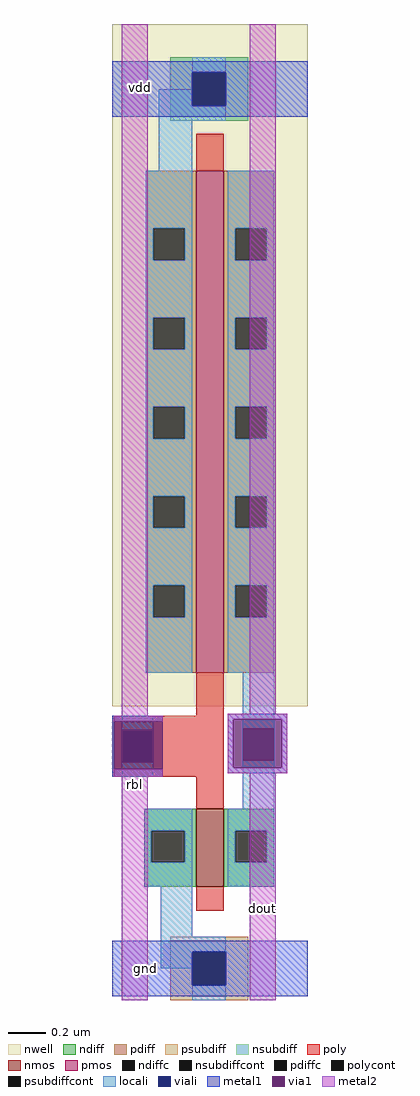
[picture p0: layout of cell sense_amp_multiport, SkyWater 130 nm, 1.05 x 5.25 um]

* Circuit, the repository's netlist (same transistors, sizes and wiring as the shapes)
* SPICE3 file created from sense_amplifier.ext - technology: sky130A



.subckt sense_amp_multiport rbl dout vdd gnd
X0 dout rbl vdd vdd sky130_fd_pr__pfet_01v8 ad=0 pd=0 as=0 ps=0 w=2.7 l=0.15
X1 dout rbl gnd gnd sky130_fd_pr__nfet_01v8 ad=0 pd=0 as=0 ps=0 w=0.42 l=0.15
.ends

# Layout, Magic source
magic
tech sky130A
<< nwell >>
rect 0 158 105 525
<< nmos >>
rect 45 61 60 103
<< pmos >>
rect 45 176 60 446
<< ndiff >>
rect 17 91 45 103
rect 17 74 21 91
rect 39 74 45 91
rect 17 61 45 74
rect 60 91 87 103
rect 60 74 66 91
rect 83 74 87 91
rect 60 61 87 74
<< pdiff >>
rect 18 415 45 446
rect 18 398 22 415
rect 39 398 45 415
rect 18 367 45 398
rect 18 350 22 367
rect 39 350 45 367
rect 18 319 45 350
rect 18 302 22 319
rect 39 302 45 319
rect 18 271 45 302
rect 18 254 22 271
rect 39 254 45 271
rect 18 223 45 254
rect 18 206 22 223
rect 39 206 45 223
rect 18 176 45 206
rect 60 415 87 446
rect 60 398 66 415
rect 83 398 87 415
rect 60 367 87 398
rect 60 350 66 367
rect 83 350 87 367
rect 60 319 87 350
rect 60 302 66 319
rect 83 302 87 319
rect 60 271 87 302
rect 60 254 66 271
rect 83 254 87 271
rect 60 223 87 254
rect 60 206 66 223
rect 83 206 87 223
rect 60 176 87 206
<< ndiffc >>
rect 21 74 39 91
rect 66 74 83 91
<< pdiffc >>
rect 22 398 39 415
rect 22 350 39 367
rect 22 302 39 319
rect 22 254 39 271
rect 22 206 39 223
rect 66 398 83 415
rect 66 350 83 367
rect 66 302 83 319
rect 66 254 83 271
rect 66 206 83 223
<< psubdiff >>
rect 31 26 73 34
rect 31 8 43 26
rect 61 8 73 26
rect 31 0 73 8
<< nsubdiff >>
rect 31 499 73 507
rect 31 481 43 499
rect 61 481 73 499
rect 31 473 73 481
<< psubdiffcont >>
rect 43 8 61 26
<< nsubdiffcont >>
rect 43 481 61 499
<< poly >>
rect 45 446 60 466
rect 45 153 60 176
rect 0 145 60 153
rect 0 128 5 145
rect 22 128 60 145
rect 0 120 60 128
rect 45 103 60 120
rect 45 48 60 61
<< polycont >>
rect 5 128 22 145
<< locali >>
rect 43 499 61 507
rect 25 481 43 490
rect 25 473 61 481
rect 25 446 43 473
rect 18 415 43 446
rect 18 398 22 415
rect 39 398 43 415
rect 18 367 43 398
rect 18 350 22 367
rect 39 350 43 367
rect 18 319 43 350
rect 18 302 22 319
rect 39 302 43 319
rect 18 271 43 302
rect 18 254 22 271
rect 39 254 43 271
rect 18 223 43 254
rect 18 206 22 223
rect 39 206 43 223
rect 18 176 43 206
rect 62 415 87 446
rect 62 398 66 415
rect 83 398 87 415
rect 62 367 87 398
rect 62 350 66 367
rect 83 350 87 367
rect 62 319 87 350
rect 62 302 66 319
rect 83 302 87 319
rect 62 271 87 302
rect 62 254 66 271
rect 83 254 87 271
rect 62 223 87 254
rect 62 206 66 223
rect 83 206 87 223
rect 62 176 87 206
rect 5 145 22 153
rect 5 120 22 128
rect 70 146 87 176
rect 70 103 87 129
rect 17 91 43 103
rect 17 74 21 91
rect 39 74 43 91
rect 17 61 43 74
rect 62 91 87 103
rect 62 74 66 91
rect 83 74 87 91
rect 62 61 87 74
rect 26 34 43 61
rect 26 26 61 34
rect 26 17 43 26
rect 43 0 61 8
<< viali >>
rect 43 481 61 499
rect 5 128 22 145
rect 70 129 87 146
rect 43 8 61 26
<< metal1 >>
rect 0 499 105 505
rect 0 481 43 499
rect 61 481 105 499
rect 0 475 105 481
rect 0 150 27 153
rect 0 124 1 150
rect 0 120 27 124
rect 62 151 94 154
rect 62 125 65 151
rect 91 125 94 151
rect 62 122 94 125
rect 0 26 105 32
rect 0 8 43 26
rect 61 8 105 26
rect 0 2 105 8
<< via1 >>
rect 1 145 27 150
rect 1 128 5 145
rect 5 128 22 145
rect 22 128 27 145
rect 1 124 27 128
rect 65 146 91 151
rect 65 129 70 146
rect 70 129 87 146
rect 87 129 91 146
rect 65 125 91 129
<< metal2 >>
rect 5 153 19 525
rect 74 154 88 525
rect 1 150 27 153
rect 1 120 27 124
rect 62 151 94 154
rect 62 125 65 151
rect 91 125 94 151
rect 62 122 94 125
rect 5 0 19 120
rect 74 0 88 122
<< labels >>
flabel metal2 81 49 81 49 0 FreeSans 80 0 0 0 dout
port 11 nsew
flabel metal1 18 17 18 17 0 FreeSans 80 0 0 0 gnd
port 7 nsew
flabel metal2 12 116 12 116 0 FreeSans 80 0 0 0 rbl
port 10 nsew
flabel metal1 15 491 15 491 0 FreeSans 80 0 0 0 vdd
port 6 nsew
<< properties >>
string FIXED_BBOX 0 0 105 525
<< end >>
